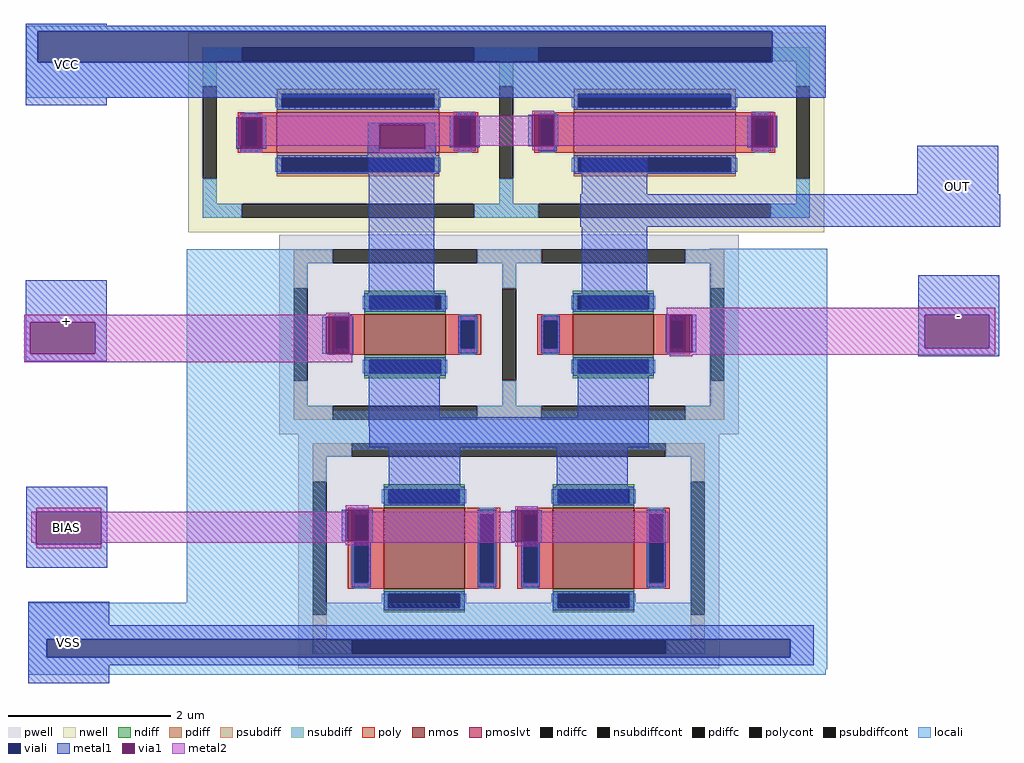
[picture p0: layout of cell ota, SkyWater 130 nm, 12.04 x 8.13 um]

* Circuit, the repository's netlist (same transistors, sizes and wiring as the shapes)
** sch_path: /foss/designs/ttsky-26c-voltage-amplifier-neuron/schem/ota/ota.sch
.subckt ota VCC OUT VSS BIAS + -
*.PININFO BIAS:I +:I -:I OUT:O VCC:B VSS:B
XM1 VSRC + VBOT VSS sky130_fd_pr__nfet_01v8 L=0.5 W=1 nf=1
XM2 OUT - VBOT VSS sky130_fd_pr__nfet_01v8 L=0.5 W=1 nf=1
XM3 VSRC VSRC VCC VCC sky130_fd_pr__pfet_01v8_lvt L=0.5 W=2 nf=1
XM4 OUT VSRC VCC VCC sky130_fd_pr__pfet_01v8_lvt L=0.5 W=2 nf=1
XM5 VBOT BIAS VSS VSS sky130_fd_pr__nfet_01v8 L=1 W=1 nf=1 m=2
.ends

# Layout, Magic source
magic
tech sky130A
magscale 1 2
<< locali >>
rect 1198 254 3170 268
rect 1198 178 1226 254
rect 3038 178 3170 254
rect 1198 90 3170 178
rect 1594 -670 1890 -284
rect 2884 -670 3174 -282
rect 1594 -684 1936 -670
rect 2838 -684 3174 -670
rect 1594 -778 3174 -684
rect 1594 -1156 1936 -778
rect 2838 -1156 3174 -778
rect 1202 -1246 3174 -1156
rect 1202 -1290 1248 -1246
rect 3082 -1290 3174 -1246
rect 1202 -1320 3174 -1290
rect 1202 -1334 3170 -1320
<< viali >>
rect 1226 178 3038 254
rect 1248 -1290 3082 -1246
<< metal1 >>
rect 1196 268 1396 272
rect 1196 254 3170 268
rect 1196 178 1226 254
rect 3038 178 3170 254
rect 1196 90 3170 178
rect 1196 72 1396 90
rect 1716 -36 1726 42
rect 1780 -36 1790 42
rect 2040 24 2206 28
rect 2040 -36 2068 24
rect 2182 4 2206 24
rect 2182 -36 2208 4
rect 2242 -32 2252 46
rect 2306 -32 2316 46
rect 2436 -30 2446 48
rect 2500 -30 2510 48
rect 2976 -32 2986 46
rect 3040 -32 3050 46
rect 2040 -52 2208 -36
rect 2042 -94 2208 -52
rect 1196 -464 1396 -360
rect 2042 -434 2204 -94
rect 2568 -148 2730 -54
rect 3396 -148 3596 -28
rect 2564 -228 3600 -148
rect 2568 -430 2730 -228
rect 3398 -446 3598 -348
rect 1196 -542 1208 -464
rect 1368 -542 1396 -464
rect 1928 -542 1938 -450
rect 1994 -542 2004 -450
rect 2775 -538 2785 -446
rect 2841 -538 2851 -446
rect 3398 -528 3414 -446
rect 3574 -528 3598 -446
rect 1196 -560 1396 -542
rect 3398 -548 3598 -528
rect 2042 -698 2218 -554
rect 2558 -698 2734 -554
rect 2042 -720 2734 -698
rect 2044 -772 2734 -720
rect 1198 -932 1398 -870
rect 2092 -908 2268 -772
rect 2506 -910 2682 -772
rect 1198 -1012 1222 -932
rect 1382 -1012 1398 -932
rect 1976 -1004 1986 -926
rect 2042 -1004 2052 -926
rect 2394 -1006 2404 -928
rect 2460 -1006 2470 -928
rect 1198 -1070 1398 -1012
rect 1202 -1212 1402 -1154
rect 1202 -1246 3140 -1212
rect 1202 -1290 1248 -1246
rect 3082 -1290 3140 -1246
rect 1202 -1310 3140 -1290
rect 1202 -1354 1402 -1310
<< via1 >>
rect 1726 -36 1780 42
rect 2068 -36 2182 24
rect 2252 -32 2306 46
rect 2446 -30 2500 48
rect 2986 -32 3040 46
rect 1208 -542 1368 -464
rect 1938 -542 1994 -450
rect 2785 -538 2841 -446
rect 3414 -528 3574 -446
rect 1222 -1012 1382 -932
rect 1986 -1004 2042 -926
rect 2404 -1006 2460 -928
<< metal2 >>
rect 1726 46 1780 52
rect 2252 46 2306 56
rect 2446 48 2500 58
rect 1722 42 2252 46
rect 1722 -28 1726 42
rect 1780 24 2252 42
rect 1780 -28 2068 24
rect 1726 -46 1780 -36
rect 2182 -28 2252 24
rect 2068 -46 2182 -36
rect 2306 -28 2446 46
rect 2252 -42 2306 -32
rect 2986 46 3040 56
rect 2500 -28 2986 46
rect 2446 -40 2500 -30
rect 3040 -28 3048 46
rect 2986 -42 3040 -32
rect 1938 -446 1994 -440
rect 2778 -446 3588 -428
rect 1192 -450 2002 -446
rect 1192 -464 1938 -450
rect 1192 -542 1208 -464
rect 1368 -542 1938 -464
rect 1994 -542 2002 -450
rect 1192 -562 2002 -542
rect 2778 -538 2785 -446
rect 2841 -528 3414 -446
rect 3574 -528 3588 -446
rect 2841 -538 3588 -528
rect 2778 -544 3588 -538
rect 2785 -548 2841 -544
rect 1222 -932 1382 -922
rect 1986 -926 2042 -916
rect 1210 -1008 1222 -932
rect 1382 -1004 1986 -932
rect 2404 -928 2460 -918
rect 2042 -1004 2404 -932
rect 1382 -1006 2404 -1004
rect 2460 -1006 2782 -932
rect 1382 -1008 2782 -1006
rect 1222 -1022 1382 -1012
rect 1986 -1014 2042 -1008
rect 2404 -1016 2460 -1008
use sky130_fd_pr__nfet_01v8_FGWQMQ  XM1
transform 0 1 2132 -1 0 -494
box -246 -310 246 310
use sky130_fd_pr__nfet_01v8_FGWQMQ  XM2
transform 0 1 2646 -1 0 -494
box -246 -310 246 310
use sky130_fd_pr__pfet_01v8_lvt_7M33HH  XM3
transform 0 1 2016 -1 0 4
box -246 -419 246 419
use sky130_fd_pr__pfet_01v8_lvt_7M33HH  XM4
transform 0 1 2748 -1 0 4
box -246 -419 246 419
use sky130_fd_pr__nfet_01v8_XETRKN  XM5
transform 0 1 2388 -1 0 -1022
box -296 -519 296 519
<< labels >>
flabel metal1 1202 -1354 1402 -1154 0 FreeSans 1600 0 0 0 VSS
port 2 nsew
flabel metal1 1196 72 1396 272 0 FreeSans 1600 0 0 0 VCC
port 0 nsew
flabel metal1 1196 -560 1396 -360 0 FreeSans 1600 0 0 0 +
port 4 nsew
flabel metal1 1198 -1070 1398 -870 0 FreeSans 1600 0 0 0 BIAS
port 3 nsew
flabel metal1 3398 -548 3598 -348 0 FreeSans 1600 0 0 0 -
port 5 nsew
flabel metal1 3396 -228 3596 -28 0 FreeSans 1600 0 0 0 OUT
port 1 nsew
<< end >>

# cell sky130_fd_pr__nfet_01v8_FGWQMQ: kit device sky130_fd_pr__nfet_01v8, w 1.0 l 0.5 m 1 nf 1 diffcov 100 polycov 100 guard 1 glc 1 grc 1 gtc 1 gbc 1 tbcov 100 rlcov 100 topc 1 botc 1 poverlap 0 doverlap 1 lmin 0.15 wmin 0.42 class mosfet compatible {sky130_fd_pr__nfet_01v8 sky130_fd_pr__nfet_01v8_lvt sky130_fd_bs_flash__special_sonosfet_star sky130_fd_pr__nfet_g5v0d10v5 sky130_fd_pr__nfet_05v0_nvt sky130_fd_pr__nfet_03v3_nvt} full_metal 1 conn_gates 0 viasrc 100 viadrn 100 viagate 100 viagb 0 viagr 0 viagl 0 viagt 0 doports 1

# cell sky130_fd_pr__pfet_01v8_lvt_7M33HH: kit device sky130_fd_pr__pfet_01v8_lvt, w 2.0 l 0.5 m 1 nf 1 diffcov 100 polycov 100 guard 1 glc 1 grc 1 gtc 1 gbc 1 tbcov 100 rlcov 100 topc 1 botc 1 poverlap 0 doverlap 1 lmin 0.35 wmin 0.42 class mosfet compatible {sky130_fd_pr__pfet_01v8 sky130_fd_pr__pfet_01v8_lvt sky130_fd_pr__pfet_01v8_hvt sky130_fd_pr__pfet_g5v0d10v5} full_metal 1 conn_gates 0 viasrc 100 viadrn 100 viagate 100 viagb 0 viagr 0 viagl 0 viagt 0 doports 1

# cell sky130_fd_pr__nfet_01v8_XETRKN: kit device sky130_fd_pr__nfet_01v8, w 1.0 l 1.0 m 2 nf 1 diffcov 100 polycov 100 guard 1 glc 1 grc 1 gtc 1 gbc 1 tbcov 100 rlcov 100 topc 1 botc 1 poverlap 0 doverlap 1 lmin 0.15 wmin 0.42 class mosfet compatible {sky130_fd_pr__nfet_01v8 sky130_fd_pr__nfet_01v8_lvt sky130_fd_bs_flash__special_sonosfet_star sky130_fd_pr__nfet_g5v0d10v5 sky130_fd_pr__nfet_05v0_nvt sky130_fd_pr__nfet_03v3_nvt} full_metal 1 conn_gates 0 viasrc 100 viadrn 100 viagate 100 viagb 0 viagr 0 viagl 0 viagt 0 doports 1
